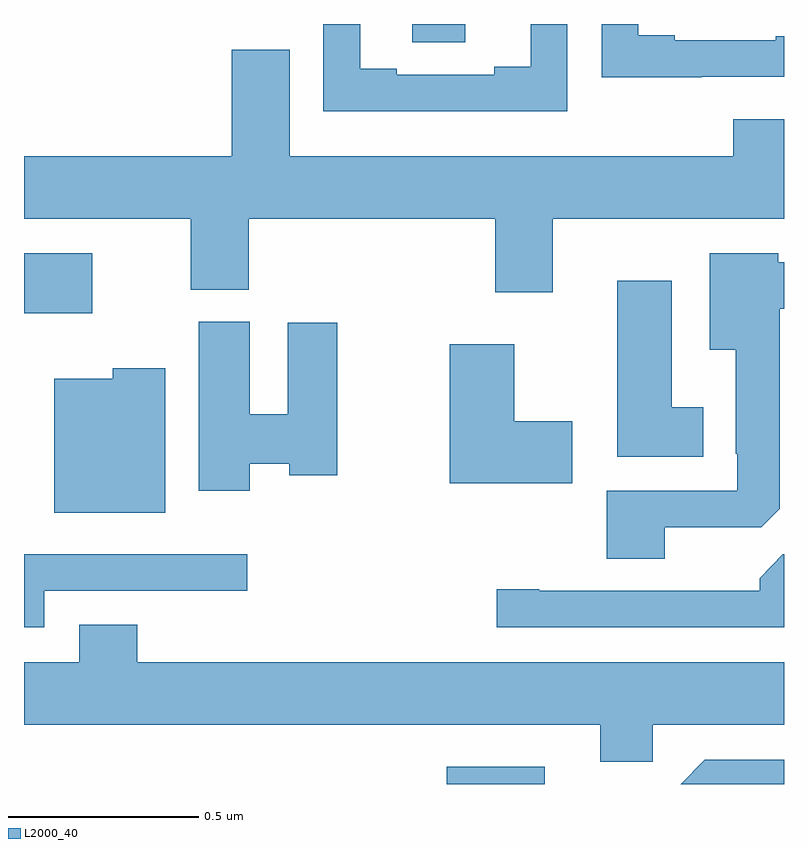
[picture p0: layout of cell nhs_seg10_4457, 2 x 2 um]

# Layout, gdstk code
import gdstk
lib = gdstk.Library(unit=1e-6, precision=1e-09)
def R(c, l, rs):  # rectangles x0, y0, x1, y1
    for r in rs: c.add(gdstk.rectangle(r[:2], r[2:], *l))
def P(c, l, *ps):  # polygons
    for p in ps: c.add(gdstk.Polygon(p, *l))
L2000_40 = (2000, 40)

nhs_seg10_4457 = lib.new_cell('nhs_seg10_4457')
R(nhs_seg10_4457, L2000_40, [(167.113,1293.5,167.371,1293.546), (166,1294.739,166.18,1294.897), (167.022,1295.452,167.161,1295.5)])
P(nhs_seg10_4457, L2000_40, [(167.43,1295.5),(167.333,1295.5),(167.333,1295.387),(167.237,1295.387),(167.237,1295.367),(166.981,1295.367),(166.981,1295.382),(166.885,1295.382),(166.885,1295.5),(166.788,1295.5),(166.788,1295.271),(167.43,1295.271)],
  [(167.783,1295.361),(168,1295.361),(168,1295.468),(167.978,1295.468),(167.978,1295.457),(167.713,1295.457),(167.713,1295.47),(167.617,1295.47),(167.617,1295.5),(167.52,1295.5),(167.52,1295.36),(167.783,1295.36)],
  [(167.392,1294.988),(168,1294.988),(168,1295.25),(167.867,1295.25),(167.867,1295.152),(166.699,1295.152),(166.699,1295.432),(166.547,1295.432),(166.547,1295.152),(166,1295.152),(166,1294.988),(166.439,1294.988),(166.439,1294.801),(166.592,1294.801),(166.592,1294.988),(167.24,1294.988),(167.24,1294.794),(167.392,1294.794)],
  [(167.686,1294.176),(167.94,1294.176),(167.989,1294.225),(167.989,1294.751),(168,1294.751),(168,1294.873),(167.985,1294.873),(167.985,1294.897),(167.804,1294.897),(167.804,1294.643),(167.873,1294.643),(167.873,1294.369),(167.877,1294.369),(167.877,1294.272),(167.534,1294.272),(167.534,1294.093),(167.686,1294.093)],
  [(167.788,1294.492),(167.704,1294.492),(167.704,1294.825),(167.561,1294.825),(167.561,1294.361),(167.788,1294.361)],
  [(166.594,1294.343),(166.698,1294.343),(166.698,1294.313),(166.824,1294.313),(166.824,1294.714),(166.694,1294.714),(166.694,1294.473),(166.594,1294.473),(166.594,1294.716),(166.46,1294.716),(166.46,1294.272),(166.594,1294.272)],
  [(167.443,1294.455),(167.29,1294.455),(167.29,1294.657),(167.12,1294.657),(167.12,1294.292),(167.443,1294.292)],
  [(166.372,1294.594),(166.233,1294.594),(166.233,1294.567),(166.079,1294.567),(166.079,1294.214),(166.372,1294.214)],
  [(166.053,1294.008),(166.588,1294.008),(166.588,1294.104),(166,1294.104),(166,1293.912),(166.053,1293.912)],
  [(168,1294.104),(167.997,1294.104),(167.936,1294.042),(167.936,1294.008),(167.356,1294.008),(167.356,1294.013),(167.244,1294.013),(167.244,1293.912),(168,1293.912)],
  [(167.655,1293.656),(168,1293.656),(168,1293.82),(166.298,1293.82),(166.298,1293.919),(166.145,1293.919),(166.145,1293.82),(166,1293.82),(166,1293.656),(167.516,1293.656),(167.516,1293.558),(167.655,1293.558)],
  [(168,1293.564),(167.792,1293.564),(167.728,1293.5),(168,1293.5)])

lib.write_gds('nhs_seg10_4457.gds')
